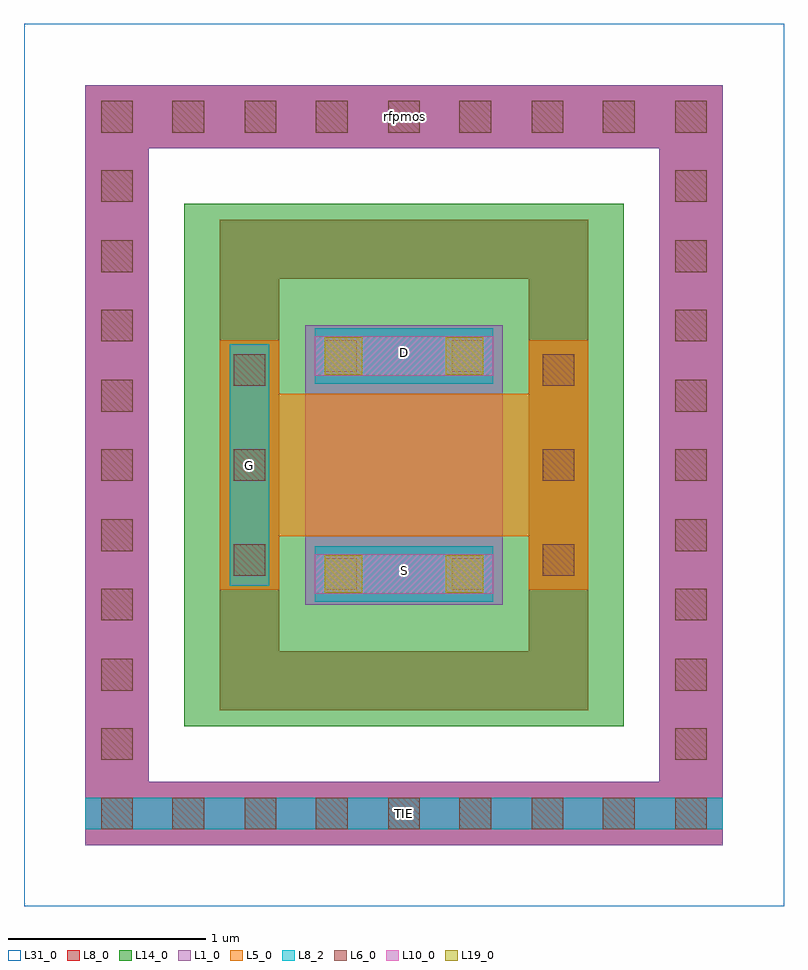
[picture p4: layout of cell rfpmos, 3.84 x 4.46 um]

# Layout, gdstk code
import gdstk
lib = gdstk.Library(unit=1e-6, precision=1e-09)
def R(c, l, rs):  # rectangles x0, y0, x1, y1
    for r in rs: c.add(gdstk.rectangle(r[:2], r[2:], *l))
def P(c, l, *ps):  # polygons
    for p in ps: c.add(gdstk.Polygon(p, *l))
L1_0 = (1, 0)
L5_0 = (5, 0)
L6_0 = (6, 0)
L8_0 = (8, 0)
L8_2 = (8, 2)
L10_0 = (10, 0)
L14_0 = (14, 0)
L19_0 = (19, 0)
L31_0 = (31, 0)

rfpmos = lib.new_cell('rfpmos')
R(rfpmos, L1_0, [(1.42,1.525,2.42,2.935), (1.42,1.525,2.42,2.935)])
P(rfpmos, L1_0, [(0.31,0.31),(0.31,4.15),(3.21,4.15),(3.21,3.83),(0.63,3.83),(0.63,0.63),(3.21,0.63),(3.21,4.15),(3.53,4.15),(3.53,0.31)],
  [(0.31,0.31),(0.31,4.15),(3.21,4.15),(3.21,3.83),(0.63,3.83),(0.63,0.63),(3.21,0.63),(3.21,4.15),(3.53,4.15),(3.53,0.31)])
P(rfpmos, L5_0, [(0.99,1.6),(0.99,2.86),(1.29,2.86),(1.29,2.59),(2.55,2.59),(2.55,2.86),(2.85,2.86),(2.85,1.6),(2.55,1.6),(2.55,1.87),(1.29,1.87),(1.29,1.6)],
  [(0.99,1.6),(0.99,2.86),(1.29,2.86),(1.29,2.59),(2.55,2.59),(2.55,2.86),(2.85,2.86),(2.85,1.6),(2.55,1.6),(2.55,1.87),(1.29,1.87),(1.29,1.6)])
R(rfpmos, L6_0, [(0.39,0.39,0.55,0.55), (0.39,0.39,0.55,0.55), (0.75,0.39,0.91,0.55), (0.75,0.39,0.91,0.55), (1.115,0.39,1.275,0.55), (1.115,0.39,1.275,0.55), (1.475,0.39,1.635,0.55), (1.475,0.39,1.635,0.55), (1.84,0.39,2,0.55), (1.84,0.39,2,0.55), (2.2,0.39,2.36,0.55), (2.2,0.39,2.36,0.55), (2.565,0.39,2.725,0.55), (2.565,0.39,2.725,0.55), (2.925,0.39,3.085,0.55), (2.925,0.39,3.085,0.55), (3.29,0.39,3.45,0.55), (3.29,0.39,3.45,0.55), (0.39,0.74,0.55,0.9), (0.39,0.74,0.55,0.9), (3.29,0.74,3.45,0.9), (3.29,0.74,3.45,0.9), (0.39,1.09,0.55,1.25), (0.39,1.09,0.55,1.25), (3.29,1.09,3.45,1.25), (3.29,1.09,3.45,1.25), (0.39,1.445,0.55,1.605), (0.39,1.445,0.55,1.605), (3.29,1.445,3.45,1.605), (3.29,1.445,3.45,1.605), (1.52,1.6,1.68,1.76), (1.52,1.6,1.68,1.76), (2.16,1.6,2.32,1.76), (2.16,1.6,2.32,1.76), (1.06,1.67,1.22,1.83), (1.06,1.67,1.22,1.83), (2.62,1.67,2.78,1.83), (2.62,1.67,2.78,1.83), (0.39,1.795,0.55,1.955), (0.39,1.795,0.55,1.955), (3.29,1.795,3.45,1.955), (3.29,1.795,3.45,1.955), (0.39,2.15,0.55,2.31), (0.39,2.15,0.55,2.31), (1.06,2.15,1.22,2.31), (1.06,2.15,1.22,2.31), (2.62,2.15,2.78,2.31), (2.62,2.15,2.78,2.31), (3.29,2.15,3.45,2.31), (3.29,2.15,3.45,2.31), (0.39,2.5,0.55,2.66), (0.39,2.5,0.55,2.66), (3.29,2.5,3.45,2.66), (3.29,2.5,3.45,2.66), (1.06,2.63,1.22,2.79), (1.06,2.63,1.22,2.79), (2.62,2.63,2.78,2.79), (2.62,2.63,2.78,2.79), (1.52,2.7,1.68,2.86), (1.52,2.7,1.68,2.86), (2.16,2.7,2.32,2.86), (2.16,2.7,2.32,2.86), (0.39,2.855,0.55,3.015), (0.39,2.855,0.55,3.015), (3.29,2.855,3.45,3.015), (3.29,2.855,3.45,3.015), (0.39,3.205,0.55,3.365), (0.39,3.205,0.55,3.365), (3.29,3.205,3.45,3.365), (3.29,3.205,3.45,3.365), (0.39,3.56,0.55,3.72), (0.39,3.56,0.55,3.72), (3.29,3.56,3.45,3.72), (3.29,3.56,3.45,3.72), (0.39,3.91,0.55,4.07), (0.39,3.91,0.55,4.07), (0.75,3.91,0.91,4.07), (0.75,3.91,0.91,4.07), (1.115,3.91,1.275,4.07), (1.115,3.91,1.275,4.07), (1.475,3.91,1.635,4.07), (1.475,3.91,1.635,4.07), (1.84,3.91,2,4.07), (1.84,3.91,2,4.07), (2.2,3.91,2.36,4.07), (2.2,3.91,2.36,4.07), (2.565,3.91,2.725,4.07), (2.565,3.91,2.725,4.07), (2.925,3.91,3.085,4.07), (2.925,3.91,3.085,4.07), (3.29,3.91,3.45,4.07), (3.29,3.91,3.45,4.07)])
R(rfpmos, L8_0, [(1.47,1.54,2.37,1.82), (1.47,1.54,2.37,1.82), (1.04,1.62,1.24,2.84), (1.04,1.62,1.24,2.84), (2.6,1.62,2.8,2.84), (2.6,1.62,2.8,2.84), (1.47,2.64,2.37,2.92), (1.47,2.64,2.37,2.92)])
P(rfpmos, L8_0, [(0.31,0.31),(0.31,4.15),(3.21,4.15),(3.21,3.83),(0.63,3.83),(0.63,0.63),(3.21,0.63),(3.21,4.15),(3.53,4.15),(3.53,0.31)],
  [(0.99,0.99),(0.99,3.47),(2.55,3.47),(2.55,3.17),(1.29,3.17),(1.29,1.29),(2.55,1.29),(2.55,3.47),(2.85,3.47),(2.85,0.99)],
  [(0.31,0.31),(0.31,4.15),(3.21,4.15),(3.21,3.83),(0.63,3.83),(0.63,0.63),(3.21,0.63),(3.21,4.15),(3.53,4.15),(3.53,0.31)],
  [(0.99,0.99),(0.99,3.47),(2.55,3.47),(2.55,3.17),(1.29,3.17),(1.29,1.29),(2.55,1.29),(2.55,3.47),(2.85,3.47),(2.85,0.99)])
R(rfpmos, L8_2, [(0.31,0.39,3.53,0.55), (0.31,0.39,3.53,0.55), (1.47,1.54,2.37,1.82), (1.47,1.54,2.37,1.82), (1.04,1.62,1.24,2.84), (1.04,1.62,1.24,2.84), (1.47,2.64,2.37,2.92), (1.47,2.64,2.37,2.92)])
R(rfpmos, L10_0, [(1.47,1.58,2.37,1.78), (1.47,1.58,2.37,1.78), (1.47,2.68,2.37,2.88), (1.47,2.68,2.37,2.88)])
R(rfpmos, L14_0, [(0.81,0.91,3.03,3.55), (0.81,0.91,3.03,3.55)])
R(rfpmos, L19_0, [(1.52,1.585,1.71,1.775), (1.52,1.585,1.71,1.775), (2.13,1.585,2.32,1.775), (2.13,1.585,2.32,1.775), (1.52,2.685,1.71,2.875), (1.52,2.685,1.71,2.875), (2.13,2.685,2.32,2.875), (2.13,2.685,2.32,2.875)])
R(rfpmos, L31_0, [(0,0,3.84,4.46), (0,0,3.84,4.46)])
rfpmos.add(gdstk.Label('TIE', (1.92,0.47), layer=63, texttype=0))
rfpmos.add(gdstk.Label('rfpmos', (1.92,3.99), layer=63, texttype=0))
rfpmos.add(gdstk.Label('G', (1.14,2.23), layer=63, texttype=0))
rfpmos.add(gdstk.Label('D', (1.92,2.798), layer=63, texttype=0))
rfpmos.add(gdstk.Label('S', (1.92,1.698), layer=63, texttype=0))
rfpmos.add(gdstk.Label('TIE', (1.92,0.47), layer=63, texttype=0))
rfpmos.add(gdstk.Label('rfpmos', (1.92,3.99), layer=63, texttype=0))
rfpmos.add(gdstk.Label('G', (1.14,2.23), layer=63, texttype=0))
rfpmos.add(gdstk.Label('D', (1.92,2.798), layer=63, texttype=0))
rfpmos.add(gdstk.Label('S', (1.92,1.698), layer=63, texttype=0))

lib.write_gds('rfpmos.gds')
